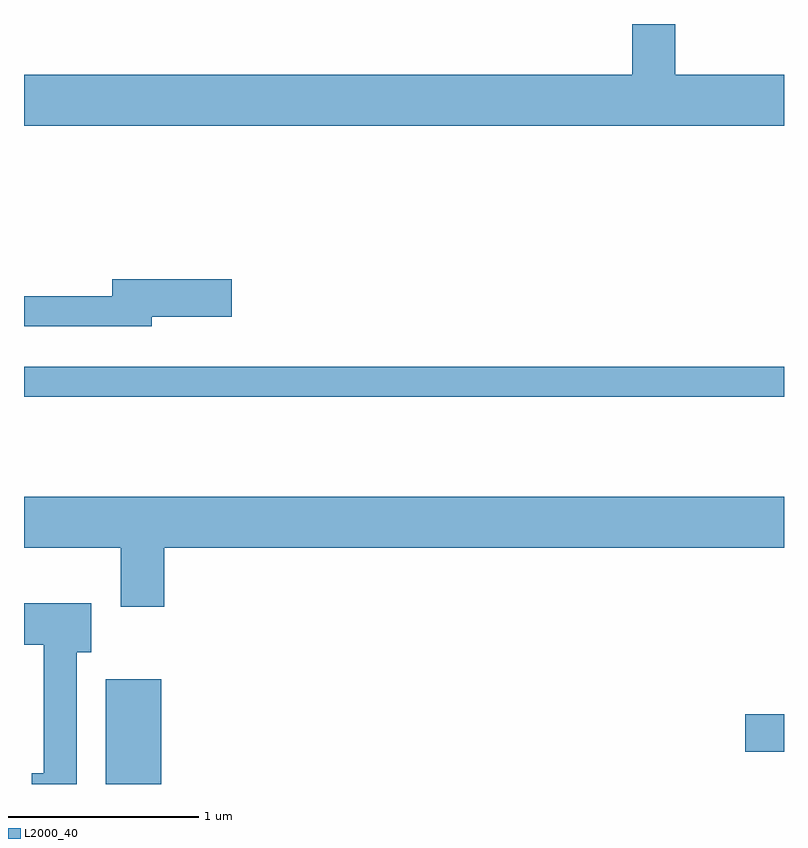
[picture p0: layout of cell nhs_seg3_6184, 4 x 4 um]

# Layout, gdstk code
import gdstk
lib = gdstk.Library(unit=1e-6, precision=1e-09)
def R(c, l, rs):  # rectangles x0, y0, x1, y1
    for r in rs: c.add(gdstk.rectangle(r[:2], r[2:], *l))
def P(c, l, *ps):  # polygons
    for p in ps: c.add(gdstk.Polygon(p, *l))
L2000_40 = (2000, 40)

nhs_seg3_6184 = lib.new_cell('nhs_seg3_6184')
R(nhs_seg3_6184, L2000_40, [(368.041,1115.892,368.334,1116.444), (371.406,1116.061,371.611,1116.259), (367.611,1117.931,371.611,1118.089)])
P(nhs_seg3_6184, L2000_40, [(371.611,1119.624),(371.039,1119.624),(371.039,1119.892),(370.811,1119.892),(370.811,1119.624),(367.611,1119.624),(367.611,1119.356),(371.611,1119.356)],
  [(368.284,1118.351),(368.704,1118.351),(368.704,1118.549),(368.076,1118.549),(368.076,1118.459),(367.611,1118.459),(367.611,1118.301),(368.284,1118.301)],
  [(368.349,1117.136),(371.611,1117.136),(371.611,1117.404),(367.611,1117.404),(367.611,1117.136),(368.121,1117.136),(368.121,1116.826),(368.349,1116.826)],
  [(367.889,1116.586),(367.964,1116.586),(367.964,1116.844),(367.611,1116.844),(367.611,1116.626),(367.716,1116.626),(367.716,1115.949),(367.653,1115.949),(367.653,1115.892),(367.889,1115.892)])

lib.write_gds('nhs_seg3_6184.gds')
